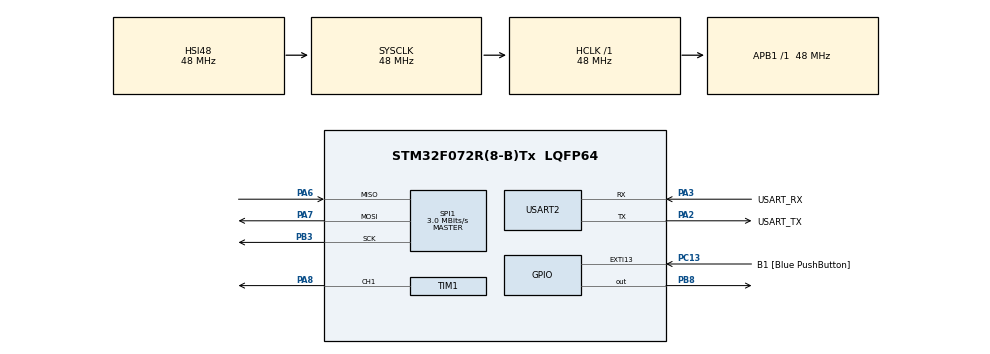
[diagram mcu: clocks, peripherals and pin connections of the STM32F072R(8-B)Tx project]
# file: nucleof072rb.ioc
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Mcu.Family=STM32F0
Mcu.Name=STM32F072R(8-B)Tx
Mcu.Package=LQFP64
PA13.GPIO_Label=TMS
PA13.Mode=Serial_Wire
PA13.Signal=SYS_SWDIO
PA14.GPIO_Label=TCK
PA14.Mode=Serial_Wire
PA14.Signal=SYS_SWCLK
PA2.GPIO_Label=USART_TX
PA2.GPIO_Mode=GPIO_MODE_AF_PP
PA2.GPIO_PuPd=GPIO_NOPULL
PA2.GPIO_Speed=GPIO_SPEED_FREQ_LOW
PA2.Mode=Asynchronous
PA2.Signal=USART2_TX
PA3.GPIO_Label=USART_RX
PA3.GPIO_Mode=GPIO_MODE_AF_PP
PA3.GPIO_PuPd=GPIO_NOPULL
PA3.GPIO_Speed=GPIO_SPEED_FREQ_LOW
PA3.Mode=Asynchronous
PA3.Signal=USART2_RX
PA6.Mode=Full_Duplex_Master
PA6.Signal=SPI1_MISO
PA7.Mode=Full_Duplex_Master
PA7.Signal=SPI1_MOSI
PA8.Signal=S_TIM1_CH1
PB3.Mode=Full_Duplex_Master
PB3.Signal=SPI1_SCK
PB8.Signal=GPIO_Output
PC13.GPIO_Label=B1 [Blue PushButton]
PC13.GPIO_ModeDefaultEXTI=GPIO_MODE_IT_FALLING
PC13.Signal=GPXTI13
PC14-OSC32_IN.Mode=LSE-External-Oscillator
PC14-OSC32_IN.Signal=RCC_OSC32_IN
PC15-OSC32_OUT.Mode=LSE-External-Oscillator
PC15-OSC32_OUT.Signal=RCC_OSC32_OUT
PF0-OSC_IN.Mode=HSE-External-Clock-Source
PF0-OSC_IN.Signal=RCC_OSC_IN
PF1-OSC_OUT.Signal=RCC_OSC_OUT
ProjectManager.HeapSize=0x200
ProjectManager.StackSize=0x400
ProjectManager.TargetToolchain=STM32CubeIDE
RCC.AHBFreq_Value=48000000
RCC.APB1Freq_Value=48000000
RCC.APB1TimFreq_Value=48000000
RCC.FLatency-AdvancedSettings=FLASH_LATENCY_1
RCC.HCLKFreq_Value=48000000
RCC.PLLDivider=RCC_PREDIV_DIV2
RCC.PLLMUL=RCC_PLL_MUL12
RCC.PREFETCH_ENABLE-AdvancedSettings=1
RCC.SYSCLKFreq_VALUE=48000000
RCC.SYSCLKSource=RCC_SYSCLKSOURCE_HSI48
SH.S_TIM1_CH1.0=TIM1_CH1,PWM Generation1 CH1
SPI1.BaudRatePrescaler=SPI_BAUDRATEPRESCALER_16
SPI1.CalculateBaudRate=3.0 MBits/s
SPI1.DataSize=SPI_DATASIZE_8BIT
SPI1.Direction=SPI_DIRECTION_2LINES
SPI1.Mode=SPI_MODE_MASTER
SPI1.VirtualType=VM_MASTER
TIM1.AutoReloadPreload=TIM_AUTORELOAD_PRELOAD_ENABLE
TIM1.Channel-PWM\ Generation1\ CH1=TIM_CHANNEL_1
TIM1.Period=19999
TIM1.Prescaler=\t47
USART2.VirtualMode=VM_ASYNC
USART2.VirtualMode-Asynchronous=VM_ASYNC
VP_TIM1_VS_ClockSourceINT.Mode=Internal
board=NUCLEO-F072RB

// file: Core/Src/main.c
/* USER CODE BEGIN Header */
/**
  ******************************************************************************
  * @file           : main.c
  * @brief          : Main program body
  ******************************************************************************
  * @attention
  *
  * <h2><center>&copy; Copyright (c) 2021 STMicroelectronics.
  * All rights reserved.</center></h2>
  *
  * This software component is licensed by ST under BSD 3-Clause license,
  * the "License"; You may not use this file except in compliance with the
  * License. You may obtain a copy of the License at:
  *                        opensource.org/licenses/BSD-3-Clause
  *
  ******************************************************************************
  */
/* USER CODE END Header */
#include "main.h"
#include "spi.h"
#include "tim.h"
#include "usart.h"
#include "gpio.h"

/* USER CODE BEGIN PV */
  uint16_t adc_val = 0;
  uint32_t pwm_pulse = 1000; // initial pulse width (1 ms)
/* USER CODE END PV */

void SystemClock_Config(void);
/* USER CODE BEGIN PFP */
  uint16_t Read_ADC_SPI(void);
  void Set_PWM_Pulse(uint32_t pulse);
/* USER CODE END PFP */

/* USER CODE BEGIN 0 */
  // Reads 10-bit ADC data from MCP3008 on channel 0 via SPI1
  uint16_t Read_ADC_SPI(void)
  {
      uint8_t txData[3] = {0x01, 0x80, 0x00}; // Start bit + single-ended + channel 0 bits
      uint8_t rxData[3] = {0};
      uint16_t adcResult = 0;

      HAL_GPIO_WritePin(GPIOB, GPIO_PIN_8, GPIO_PIN_RESET); // CS LOW to start communication

      HAL_SPI_TransmitReceive(&hspi1, txData, rxData, 3, HAL_MAX_DELAY);

      HAL_GPIO_WritePin(GPIOB, GPIO_PIN_8, GPIO_PIN_SET); // CS HIGH to finish communication

      adcResult = ((rxData[1] & 0x03) << 8) | rxData[2]; // Extract 10-bit result

      return adcResult;
  }

  // Sets PWM pulse width on TIM1 Channel 1
  void Set_PWM_Pulse(uint32_t pulse)
  {
      if (pulse < 1000) pulse = 1000;
      if (pulse > 2000) pulse = 2000;

      __HAL_TIM_SET_COMPARE(&htim1, TIM_CHANNEL_1, pulse);
  }
/* USER CODE END 0 */

int main(void)
{

  /* MCU Configuration--------------------------------------------------------*/

  /* Reset of all peripherals, Initializes the Flash interface and the Systick. */
  HAL_Init();

  /* Configure the system clock */
  SystemClock_Config();

  /* Initialize all configured peripherals */
  MX_GPIO_Init();
  MX_USART2_UART_Init();
  MX_SPI1_Init();
  MX_TIM1_Init();

  /* Start PWM output on TIM1 Channel 1 */
    HAL_TIM_PWM_Start(&htim1, TIM_CHANNEL_1);

  /* Infinite loop */
  /* USER CODE BEGIN WHILE */
  while (1)
  {
	  /* Read ADC data */
	  	adc_val = Read_ADC_SPI();

	  	/* Map ADC (0-1023) to PWM pulse width (1000-2000) */
	  	pwm_pulse = 1000 + ((uint32_t)adc_val * 1000) / 1023;

	  	/* Update PWM pulse */
	  	Set_PWM_Pulse(pwm_pulse);

	  	/* Delay to avoid ADC overload */
	      HAL_Delay(10);

    /* USER CODE END WHILE */

  }
}

void SystemClock_Config(void)
{
  RCC_OscInitTypeDef RCC_OscInitStruct = {0};
  RCC_ClkInitTypeDef RCC_ClkInitStruct = {0};
  RCC_PeriphCLKInitTypeDef PeriphClkInit = {0};

  /** Initializes the RCC Oscillators according to the specified parameters
  * in the RCC_OscInitTypeDef structure.
  */
  RCC_OscInitStruct.OscillatorType = RCC_OSCILLATORTYPE_HSI48;
  RCC_OscInitStruct.HSI48State = RCC_HSI48_ON;
  RCC_OscInitStruct.PLL.PLLState = RCC_PLL_NONE;
  if (HAL_RCC_OscConfig(&RCC_OscInitStruct) != HAL_OK)
  {
    Error_Handler();
  }
  /** Initializes the CPU, AHB and APB buses clocks
  */
  RCC_ClkInitStruct.ClockType = RCC_CLOCKTYPE_HCLK|RCC_CLOCKTYPE_SYSCLK
                              |RCC_CLOCKTYPE_PCLK1;
  RCC_ClkInitStruct.SYSCLKSource = RCC_SYSCLKSOURCE_HSI48;
  RCC_ClkInitStruct.AHBCLKDivider = RCC_SYSCLK_DIV1;
  RCC_ClkInitStruct.APB1CLKDivider = RCC_HCLK_DIV1;

  if (HAL_RCC_ClockConfig(&RCC_ClkInitStruct, FLASH_LATENCY_1) != HAL_OK)
  {
    Error_Handler();
  }
  PeriphClkInit.PeriphClockSelection = RCC_PERIPHCLK_USART2;
  PeriphClkInit.Usart2ClockSelection = RCC_USART2CLKSOURCE_PCLK1;
  if (HAL_RCCEx_PeriphCLKConfig(&PeriphClkInit) != HAL_OK)
  {
    Error_Handler();
  }
}

void Error_Handler(void)
{
  __disable_irq();
  while (1)
  {
  }
}

/************************ (C) COPYRIGHT STMicroelectronics *****END OF FILE****/
